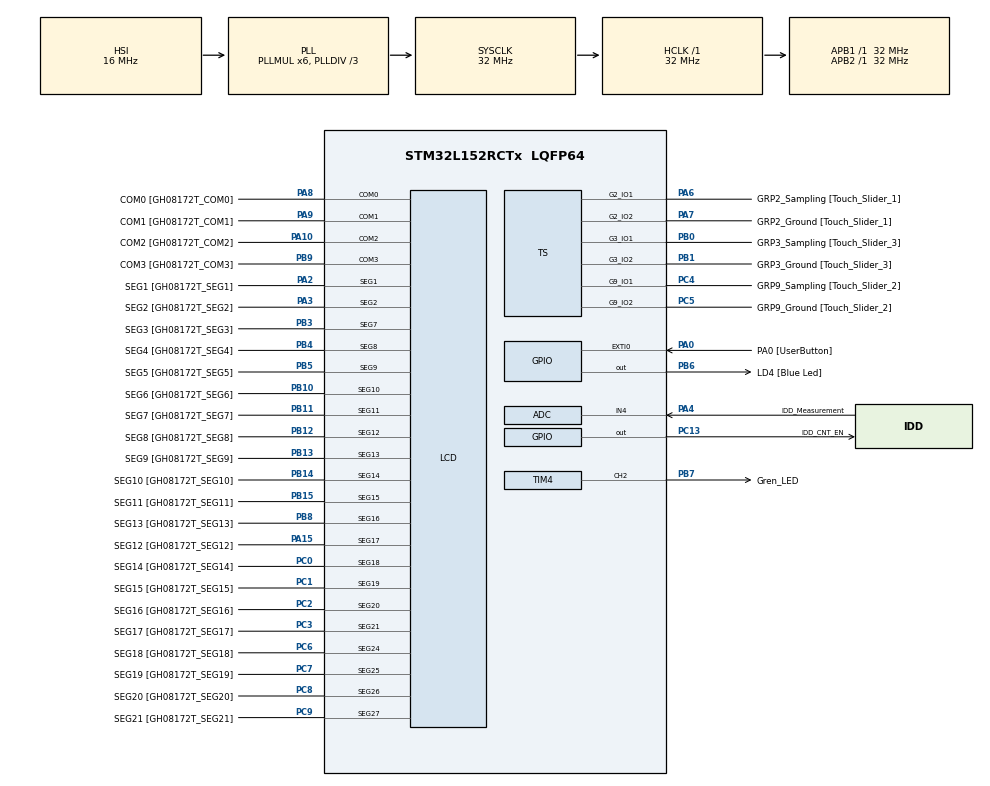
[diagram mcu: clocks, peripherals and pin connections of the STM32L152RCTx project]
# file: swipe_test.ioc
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ADC.Channel=ADC_CHANNEL_4
ADC.Channel-0\#ChannelRegularConversion=ADC_CHANNEL_4
ADC.Channel-IN4=ADC_CHANNEL_4
ADC.ExternalTrigConv=ADC_EXTERNALTRIGCONV_T2_CC3
ADC.ExternalTrigConv-0\#ChannelRegularConversion=ADC_SOFTWARE_START
ADC.ExternalTrigConvEdge=ADC_EXTERNALTRIGCONVEDGE_RISING
ADC.Rank-0\#ChannelRegularConversion=1
ADC.SamplingTime-0\#ChannelRegularConversion=ADC_SAMPLETIME_4CYCLES
LCD.Bias=LCD_BIAS_1_3
Mcu.Family=STM32L1
Mcu.Name=STM32L152RCTx
Mcu.Package=LQFP64
NVIC.EXTI0_IRQn=true\:0\:0\:false\:false\:true\:true\:true
NVIC.PriorityGroup=NVIC_PRIORITYGROUP_0
PA0-WKUP1.GPIO_Label=PA0 [UserButton]
PA0-WKUP1.Signal=GPXTI0
PA1.GPIO_Label=SEG0 [GH08172T_SEG0]
PA1.GPIO_Mode=GPIO_MODE_AF_PP
PA1.GPIO_PuPd=GPIO_NOPULL
PA1.GPIO_Speed=GPIO_SPEED_FREQ_LOW
PA1.Signal=LCD_SEG0
PA10.GPIO_Label=COM2 [GH08172T_COM2]
PA10.GPIO_Mode=GPIO_MODE_AF_PP
PA10.GPIO_PuPd=GPIO_NOPULL
PA10.GPIO_Speed=GPIO_SPEED_FREQ_LOW
PA10.Mode=1/4 Duty Cycle
PA10.Signal=LCD_COM2
PA13.GPIO_Label=SWDIO
PA13.Mode=Serial_Wire
PA13.Signal=SYS_JTMS-SWDIO
PA14.GPIO_Label=SWCLK
PA14.Mode=Serial_Wire
PA14.Signal=SYS_JTCK-SWCLK
PA15.GPIO_Label=SEG12 [GH08172T_SEG12]
PA15.GPIO_Mode=GPIO_MODE_AF_PP
PA15.GPIO_PuPd=GPIO_NOPULL
PA15.GPIO_Speed=GPIO_SPEED_FREQ_LOW
PA15.Mode=SEG17
PA15.Signal=LCD_SEG17
PA2.GPIO_Label=SEG1 [GH08172T_SEG1]
PA2.GPIO_Mode=GPIO_MODE_AF_PP
PA2.GPIO_PuPd=GPIO_NOPULL
PA2.GPIO_Speed=GPIO_SPEED_FREQ_LOW
PA2.Mode=SEG1
PA2.Signal=LCD_SEG1
PA3.GPIO_Label=SEG2 [GH08172T_SEG2]
PA3.GPIO_Mode=GPIO_MODE_AF_PP
PA3.GPIO_PuPd=GPIO_NOPULL
PA3.GPIO_Speed=GPIO_SPEED_FREQ_LOW
PA3.Mode=SEG2
PA3.Signal=LCD_SEG2
PA4.GPIO_Label=IDD_Measurement
PA4.GPIO_Mode=GPIO_MODE_ANALOG
PA4.GPIO_PuPd=GPIO_NOPULL
PA4.Mode=IN4
PA4.Signal=ADC_IN4
PA6.GPIO_Label=GRP2_Sampling [Touch_Slider_1]
PA6.Mode=G2_IO1-Sampling
PA6.Signal=TS_G2_IO1
PA7.GPIO_Label=GRP2_Ground [Touch_Slider_1]
PA7.Mode=G2_IO2-Channel
PA7.Signal=TS_G2_IO2
PA8.GPIO_Label=COM0 [GH08172T_COM0]
PA8.GPIO_Mode=GPIO_MODE_AF_PP
PA8.GPIO_PuPd=GPIO_NOPULL
PA8.GPIO_Speed=GPIO_SPEED_FREQ_LOW
PA8.Mode=1/4 Duty Cycle
PA8.Signal=LCD_COM0
PA9.GPIO_Label=COM1 [GH08172T_COM1]
PA9.GPIO_Mode=GPIO_MODE_AF_PP
PA9.GPIO_PuPd=GPIO_NOPULL
PA9.GPIO_Speed=GPIO_SPEED_FREQ_LOW
PA9.Mode=1/4 Duty Cycle
PA9.Signal=LCD_COM1
PB0.GPIO_Label=GRP3_Sampling [Touch_Slider_3]
PB0.Mode=G3_IO1-Sampling
PB0.Signal=TS_G3_IO1
PB1.GPIO_Label=GRP3_Ground [Touch_Slider_3]
PB1.Mode=G3_IO2-Channel
PB1.Signal=TS_G3_IO2
PB10.GPIO_Label=SEG6 [GH08172T_SEG6]
PB10.GPIO_Mode=GPIO_MODE_AF_PP
PB10.GPIO_PuPd=GPIO_NOPULL
PB10.GPIO_Speed=GPIO_SPEED_FREQ_LOW
PB10.Mode=SEG10
PB10.Signal=LCD_SEG10
PB11.GPIO_Label=SEG7 [GH08172T_SEG7]
PB11.GPIO_Mode=GPIO_MODE_AF_PP
PB11.GPIO_PuPd=GPIO_NOPULL
PB11.GPIO_Speed=GPIO_SPEED_FREQ_LOW
PB11.Mode=SEG11
PB11.Signal=LCD_SEG11
PB12.GPIO_Label=SEG8 [GH08172T_SEG8]
PB12.GPIO_Mode=GPIO_MODE_AF_PP
PB12.GPIO_PuPd=GPIO_NOPULL
PB12.GPIO_Speed=GPIO_SPEED_FREQ_LOW
PB12.Mode=SEG12
PB12.Signal=LCD_SEG12
PB13.GPIO_Label=SEG9 [GH08172T_SEG9]
PB13.GPIO_Mode=GPIO_MODE_AF_PP
PB13.GPIO_PuPd=GPIO_NOPULL
PB13.GPIO_Speed=GPIO_SPEED_FREQ_LOW
PB13.Mode=SEG13
PB13.Signal=LCD_SEG13
PB14.GPIO_Label=SEG10 [GH08172T_SEG10]
PB14.GPIO_Mode=GPIO_MODE_AF_PP
PB14.GPIO_PuPd=GPIO_NOPULL
PB14.GPIO_Speed=GPIO_SPEED_FREQ_LOW
PB14.Mode=SEG14
PB14.Signal=LCD_SEG14
PB15.GPIO_Label=SEG11 [GH08172T_SEG11]
PB15.GPIO_Mode=GPIO_MODE_AF_PP
PB15.GPIO_PuPd=GPIO_NOPULL
PB15.GPIO_Speed=GPIO_SPEED_FREQ_LOW
PB15.Mode=SEG15
PB15.Signal=LCD_SEG15
PB3.GPIO_Label=SEG3 [GH08172T_SEG3]
PB3.GPIO_Mode=GPIO_MODE_AF_PP
PB3.GPIO_PuPd=GPIO_NOPULL
PB3.GPIO_Speed=GPIO_SPEED_FREQ_LOW
PB3.Mode=SEG7
PB3.Signal=LCD_SEG7
PB4.GPIO_Label=SEG4 [GH08172T_SEG4]
PB4.GPIO_Mode=GPIO_MODE_AF_PP
PB4.GPIO_PuPd=GPIO_NOPULL
PB4.GPIO_Speed=GPIO_SPEED_FREQ_LOW
PB4.Mode=SEG8
PB4.Signal=LCD_SEG8
PB5.GPIO_Label=SEG5 [GH08172T_SEG5]
PB5.GPIO_Mode=GPIO_MODE_AF_PP
PB5.GPIO_PuPd=GPIO_NOPULL
PB5.GPIO_Speed=GPIO_SPEED_FREQ_LOW
PB5.Mode=SEG9
PB5.Signal=LCD_SEG9
PB6.GPIO_Label=LD4 [Blue Led]
PB6.GPIO_ModeDefaultOutputPP=GPIO_MODE_OUTPUT_PP
PB6.GPIO_PuPd=GPIO_NOPULL
PB6.GPIO_Speed=GPIO_SPEED_FREQ_LOW
PB6.Signal=GPIO_Output
PB7.GPIO_Label=Gren_LED
PB7.GPIO_Speed=GPIO_SPEED_FREQ_MEDIUM
PB7.Signal=S_TIM4_CH2
PB8.GPIO_Label=SEG13 [GH08172T_SEG13]
PB8.GPIO_Mode=GPIO_MODE_AF_PP
PB8.GPIO_PuPd=GPIO_NOPULL
PB8.GPIO_Speed=GPIO_SPEED_FREQ_LOW
PB8.Mode=SEG16
PB8.Signal=LCD_SEG16
PB9.GPIO_Label=COM3 [GH08172T_COM3]
PB9.GPIO_Mode=GPIO_MODE_AF_PP
PB9.GPIO_PuPd=GPIO_NOPULL
PB9.GPIO_Speed=GPIO_SPEED_FREQ_LOW
PB9.Mode=1/4 Duty Cycle
PB9.Signal=LCD_COM3
PC0.GPIO_Label=SEG14 [GH08172T_SEG14]
PC0.GPIO_Mode=GPIO_MODE_AF_PP
PC0.GPIO_PuPd=GPIO_NOPULL
PC0.GPIO_Speed=GPIO_SPEED_FREQ_LOW
PC0.Mode=SEG18
PC0.Signal=LCD_SEG18
PC1.GPIO_Label=SEG15 [GH08172T_SEG15]
PC1.GPIO_Mode=GPIO_MODE_AF_PP
PC1.GPIO_PuPd=GPIO_NOPULL
PC1.GPIO_Speed=GPIO_SPEED_FREQ_LOW
PC1.Mode=SEG19
PC1.Signal=LCD_SEG19
PC10.GPIO_Label=SEG22 [GH08172T_SEG22]
PC10.GPIO_Mode=GPIO_MODE_AF_PP
PC10.GPIO_PuPd=GPIO_NOPULL
PC10.GPIO_Speed=GPIO_SPEED_FREQ_LOW
PC10.Signal=LCD_SEG28
PC11.GPIO_Label=SEG23 [GH08172T_SEG23]
PC11.GPIO_Mode=GPIO_MODE_AF_PP
PC11.GPIO_PuPd=GPIO_NOPULL
PC11.GPIO_Speed=GPIO_SPEED_FREQ_LOW
PC11.Signal=LCD_SEG29
PC13-WKUP2.GPIO_Label=IDD_CNT_EN
PC13-WKUP2.Signal=GPIO_Output
PC14-OSC32_IN.GPIO_Label=PC14-OSC32_IN
PC14-OSC32_IN.Signal=RCC_OSC32_IN
PC15-OSC32_OUT.GPIO_Label=PC15-OSC32_OUT
PC15-OSC32_OUT.Signal=RCC_OSC32_OUT
PC2.GPIO_Label=SEG16 [GH08172T_SEG16]
PC2.GPIO_Mode=GPIO_MODE_AF_PP
PC2.GPIO_PuPd=GPIO_NOPULL
PC2.GPIO_Speed=GPIO_SPEED_FREQ_LOW
PC2.Mode=SEG20
PC2.Signal=LCD_SEG20
PC3.GPIO_Label=SEG17 [GH08172T_SEG17]
PC3.GPIO_Mode=GPIO_MODE_AF_PP
PC3.GPIO_PuPd=GPIO_NOPULL
PC3.GPIO_Speed=GPIO_SPEED_FREQ_LOW
PC3.Mode=SEG21
PC3.Signal=LCD_SEG21
PC4.GPIO_Label=GRP9_Sampling [Touch_Slider_2]
PC4.Mode=G9_IO1-Sampling
PC4.Signal=TS_G9_IO1
PC5.GPIO_Label=GRP9_Ground [Touch_Slider_2]
PC5.Mode=G9_IO2-Channel
PC5.Signal=TS_G9_IO2
PC6.GPIO_Label=SEG18 [GH08172T_SEG18]
PC6.GPIO_Mode=GPIO_MODE_AF_PP
PC6.GPIO_PuPd=GPIO_NOPULL
PC6.GPIO_Speed=GPIO_SPEED_FREQ_LOW
PC6.Mode=SEG24
PC6.Signal=LCD_SEG24
PC7.GPIO_Label=SEG19 [GH08172T_SEG19]
PC7.GPIO_Mode=GPIO_MODE_AF_PP
PC7.GPIO_PuPd=GPIO_NOPULL
PC7.GPIO_Speed=GPIO_SPEED_FREQ_LOW
PC7.Mode=SEG25
PC7.Signal=LCD_SEG25
PC8.GPIO_Label=SEG20 [GH08172T_SEG20]
PC8.GPIO_Mode=GPIO_MODE_AF_PP
PC8.GPIO_PuPd=GPIO_NOPULL
PC8.GPIO_Speed=GPIO_SPEED_FREQ_LOW
PC8.Mode=SEG26
PC8.Signal=LCD_SEG26
PC9.GPIO_Label=SEG21 [GH08172T_SEG21]
PC9.GPIO_Mode=GPIO_MODE_AF_PP
PC9.GPIO_PuPd=GPIO_NOPULL
PC9.GPIO_Speed=GPIO_SPEED_FREQ_LOW
PC9.Mode=SEG27
PC9.Signal=LCD_SEG27
PH0-OSC_IN.Mode=HSE-External-Oscillator
PH0-OSC_IN.Signal=RCC_OSC_IN
PH1-OSC_OUT.Mode=HSE-External-Oscillator
PH1-OSC_OUT.Signal=RCC_OSC_OUT
ProjectManager.HeapSize=0x200
ProjectManager.StackSize=0x400
ProjectManager.TargetToolchain=TrueSTUDIO
RCC.48MHZClocksFreq_Value=48000000
RCC.AHBFreq_Value=32000000
RCC.APB1Freq_Value=32000000
RCC.APB1TimFreq_Value=32000000
RCC.APB2Freq_Value=32000000
RCC.APB2TimFreq_Value=32000000
RCC.HCLKFreq_Value=32000000
RCC.HSE_VALUE=8000000
RCC.HSI_VALUE=16000000
RCC.LSE_VALUE=32768
RCC.MSI_VALUE=2097000
RCC.PLLDIV=RCC_PLL_DIV3
RCC.PLLMUL=RCC_PLL_MUL6
RCC.RCC_RTC_Clock_Source_FROM_HSE=RCC_RTCCLKSOURCE_HSE_DIV8
RCC.RTCClockSelection=RCC_RTCCLKSOURCE_HSE_DIV8
RCC.RTCClockSelectionVirtual=RCC_RTCCLKSOURCE_LSE
RCC.SYSCLKFreq_VALUE=32000000
RCC.SYSCLKSource=RCC_SYSCLKSOURCE_PLLCLK
RCC.USBOutput=48000000
RCC.VCOOutputFreq_Value=96000000
SH.S_TIM4_CH2.0=TIM4_CH2,PWM Generation2 CH2
TIM4.AutoReloadPreload=TIM_AUTORELOAD_PRELOAD_ENABLE
TIM4.Channel-PWM\ Generation2\ CH2=TIM_CHANNEL_2
TIM4.OCFastMode_PWM-PWM\ Generation2\ CH2=TIM_OCFAST_ENABLE
TIM4.Period=500
TIM4.Prescaler=32
TIM4.Pulse-PWM\ Generation2\ CH2=350
TS.SamplingIOs-G2_IO1=TSC_GROUP2_IO1
TS.SamplingIOs-G3_IO1=TSC_GROUP3_IO1
TS.SamplingIOs-G9_IO1=TSC_GROUP9_IO1
VP_LCD_LCD_mux.Mode=Multiplex
VP_TIM4_VS_ClockSourceINT.Mode=Internal
VP_TOUCHSENSING_VS_TOUCHSENSING.Mode=TouchSensing_Enabled
board=STM32L152C-DISCO

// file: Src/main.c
/* USER CODE BEGIN Header */
/**
  ******************************************************************************
  * @file           : main.c
  * @brief          : Main program body
  ******************************************************************************
  * @attention
  *
  * <h2><center>&copy; Copyright (c) 2019 STMicroelectronics.
  * All rights reserved.</center></h2>
  *
  * This software component is licensed by ST under BSD 3-Clause license,
  * the "License"; You may not use this file except in compliance with the
  * License. You may obtain a copy of the License at:
  *                        opensource.org/licenses/BSD-3-Clause
  *
  ******************************************************************************
  */
/* USER CODE END Header */

#include "main.h"
#include "STM32L152xC.h"

/* USER CODE BEGIN PTD */
#define bool _Bool
#define FALSE 0
#define TRUE !FALSE

#define Button_Delay  20
#define LedON_Delay  3000
/* USER CODE END PTD */

/* USER CODE BEGIN PD */
extern bool UserButton;               /* Set by interrupt handler to indicate that user button is pressed */
bool process_sensor = FALSE;
int BtDelay = Button_Delay;
int LedOnDelay = LedON_Delay;
uint8_t message[6] = "HELLO ";

/* USER CODE END PD */

ADC_HandleTypeDef hadc;

LCD_HandleTypeDef hlcd;

TIM_HandleTypeDef htim4;

void SystemClock_Config(void);
static void MX_GPIO_Init(void);
static void MX_ADC_Init(void);
static void MX_LCD_Init(void);
static void MX_TS_Init(void);
static void MX_TIM4_Init(void);
/* USER CODE BEGIN PFP */
static uint16_t LCD_Conv_Char_Seg  (uint8_t symbol, uint8_t point);
void LCD_GLASS_WriteChar(uint8_t ch, uint8_t point, uint8_t position);
void LCD_GLASS_WriteMessage(void);
/* USER CODE END PFP */

int main(void)
{

  /* MCU Configuration--------------------------------------------------------*/

  /* Reset of all peripherals, Initializes the Flash interface and the Systick. */
  HAL_Init();

  /* Configure the system clock */
  SystemClock_Config();

  /* USER CODE BEGIN SysInit */
  systickInit(1000);   			// systick frequency 1kHz
  /* USER CODE END SysInit */

  /* Initialize all configured peripherals */
  MX_GPIO_Init();
  MX_ADC_Init();
  MX_LCD_Init();
  MX_TS_Init();
  MX_TIM4_Init();
  /* USER CODE BEGIN 2 */

/*  LCD_GLASS_WriteChar(uint8_t ch, uint8_t point, uint8_t position)*/
/*  LCD_GLASS_WriteChar('H', 0, 1);
  LCD_GLASS_WriteChar('E', 0, 2);
  LCD_GLASS_WriteChar('L', 0, 3);
  LCD_GLASS_WriteChar('L', 0, 4);
  LCD_GLASS_WriteChar('O', 0, 5);
  LCD_GLASS_WriteChar(' ', 1, 6);
  */
  LCD_GLASS_WriteMessage();
  HAL_Delay(500);
 /* USER CODE END 2 */
  state_machine= STATE_1;
  /* Infinite loop */
  /* USER CODE BEGIN WHILE */
  HAL_TIM_Base_Start(&htim4);				//PWM generator start
//  HAL_TIM_PWM_Start(&htim4, TIM_CHANNEL_2);
  message[0] = ' ';
  message[1] = '2';
  message[2] = '0';
  message[3] = '0';
  message[4] = 'M';
  message[5] = 'S';
  while (1)
  {
    /* USER CODE END WHILE */

    /* USER CODE BEGIN 3 */

	switch (state_machine)
	{

	   case STATE_1:
	     swipe_delay_value=200;
	     if (process_sensor==0)
	     {
	    	  message[0] = ' ';
	    	  message[1] = '2';
	    	 LCD_GLASS_WriteMessage();
	     }
	   break;

	   case STATE_2:
	     swipe_delay_value=500;
	     if (process_sensor==0)
	     {
	    	 message[0] = ' ';
	    	 message[1] = '5';
   	    	 LCD_GLASS_WriteMessage();
	     }
	   break;

	   case STATE_3:
	     swipe_delay_value=1000;
	     if (process_sensor==0)
		 {
	    	  message[0] = '1';
	    	  message[1] = '0';
	    	 LCD_GLASS_WriteMessage();
	     }
	   break;

	   /* for safe: normaly never reaches*/
	   default:
		 message[0] = 'E';
		 message[1] = 'R';
		 message[2] = 'R';
		 message[3] = 'O';
		 message[4] = 'R';
		 message[5] = ' ';
		 LCD_GLASS_WriteMessage();
	   break;
	}

	if(UserButton)
	{
	   HAL_TIM_PWM_Start(&htim4, TIM_CHANNEL_2);
	   LedOnDelay = swipe_delay_value;

	   state_machine++;
	   if (state_machine==MAX_STATE)
	   {
		   state_machine=STATE_1;
	   }

	   UserButton = FALSE;
	}
	else HAL_Delay(500);
	if(LedOnDelay == 0)
	{

	  HAL_TIM_PWM_Stop(&htim4, TIM_CHANNEL_2);
	}

  }
  /* USER CODE END 3 */
}

void SystemClock_Config(void)
{
  RCC_OscInitTypeDef RCC_OscInitStruct = {0};
  RCC_ClkInitTypeDef RCC_ClkInitStruct = {0};
  RCC_PeriphCLKInitTypeDef PeriphClkInit = {0};

  /** Configure the main internal regulator output voltage
  */
  __HAL_PWR_VOLTAGESCALING_CONFIG(PWR_REGULATOR_VOLTAGE_SCALE1);
  /** Initializes the CPU, AHB and APB busses clocks
  */
  RCC_OscInitStruct.OscillatorType = RCC_OSCILLATORTYPE_HSI|RCC_OSCILLATORTYPE_HSE;
  RCC_OscInitStruct.HSEState = RCC_HSE_ON;
  RCC_OscInitStruct.HSIState = RCC_HSI_ON;
  RCC_OscInitStruct.HSICalibrationValue = RCC_HSICALIBRATION_DEFAULT;
  RCC_OscInitStruct.PLL.PLLState = RCC_PLL_ON;
  RCC_OscInitStruct.PLL.PLLSource = RCC_PLLSOURCE_HSI;
  RCC_OscInitStruct.PLL.PLLMUL = RCC_PLL_MUL6;
  RCC_OscInitStruct.PLL.PLLDIV = RCC_PLL_DIV3;
  if (HAL_RCC_OscConfig(&RCC_OscInitStruct) != HAL_OK)
  {
    Error_Handler();
  }
  /** Initializes the CPU, AHB and APB busses clocks
  */
  RCC_ClkInitStruct.ClockType = RCC_CLOCKTYPE_HCLK|RCC_CLOCKTYPE_SYSCLK
                              |RCC_CLOCKTYPE_PCLK1|RCC_CLOCKTYPE_PCLK2;
  RCC_ClkInitStruct.SYSCLKSource = RCC_SYSCLKSOURCE_PLLCLK;
  RCC_ClkInitStruct.AHBCLKDivider = RCC_SYSCLK_DIV1;
  RCC_ClkInitStruct.APB1CLKDivider = RCC_HCLK_DIV1;
  RCC_ClkInitStruct.APB2CLKDivider = RCC_HCLK_DIV1;

  if (HAL_RCC_ClockConfig(&RCC_ClkInitStruct, FLASH_LATENCY_1) != HAL_OK)
  {
    Error_Handler();
  }
  PeriphClkInit.PeriphClockSelection = RCC_PERIPHCLK_LCD;
  PeriphClkInit.LCDClockSelection = RCC_RTCCLKSOURCE_HSE_DIV8;

  if (HAL_RCCEx_PeriphCLKConfig(&PeriphClkInit) != HAL_OK)
  {
    Error_Handler();
  }
}

static void MX_ADC_Init(void)
{

  ADC_ChannelConfTypeDef sConfig = {0};

  /** Configure the global features of the ADC (Clock, Resolution, Data Alignment and number of conversion)
  */
  hadc.Instance = ADC1;
  hadc.Init.ClockPrescaler = ADC_CLOCK_ASYNC_DIV1;
  hadc.Init.Resolution = ADC_RESOLUTION_12B;
  hadc.Init.DataAlign = ADC_DATAALIGN_RIGHT;
  hadc.Init.ScanConvMode = ADC_SCAN_DISABLE;
  hadc.Init.EOCSelection = ADC_EOC_SEQ_CONV;
  hadc.Init.LowPowerAutoWait = ADC_AUTOWAIT_DISABLE;
  hadc.Init.LowPowerAutoPowerOff = ADC_AUTOPOWEROFF_DISABLE;
  hadc.Init.ChannelsBank = ADC_CHANNELS_BANK_A;
  hadc.Init.ContinuousConvMode = DISABLE;
  hadc.Init.NbrOfConversion = 1;
  hadc.Init.DiscontinuousConvMode = DISABLE;
  hadc.Init.ExternalTrigConv = ADC_EXTERNALTRIGCONV_T2_CC3;
  hadc.Init.ExternalTrigConvEdge = ADC_EXTERNALTRIGCONVEDGE_RISING;
  hadc.Init.DMAContinuousRequests = DISABLE;
  if (HAL_ADC_Init(&hadc) != HAL_OK)
  {
    Error_Handler();
  }
  /** Configure for the selected ADC regular channel its corresponding rank in the sequencer and its sample time.
  */
  sConfig.Channel = ADC_CHANNEL_4;
  sConfig.Rank = ADC_REGULAR_RANK_1;
  sConfig.SamplingTime = ADC_SAMPLETIME_4CYCLES;
  if (HAL_ADC_ConfigChannel(&hadc, &sConfig) != HAL_OK)
  {
    Error_Handler();
  }

}

static void MX_LCD_Init(void)
{

  /* USER CODE BEGIN LCD_Init 0 */

  RCC->APB1ENR |= RCC_APB1ENR_PWREN|RCC_APB1ENR_LCDEN;
  RCC->CSR |= RCC_CSR_LSION;
  while (! (RCC->CSR & RCC_CSR_LSIRDY)) ;

  RCC->APB1ENR |= RCC_APB1ENR_PWREN;
  PWR->CR  |=  PWR_CR_DBP;       // disable backup write protection !!!

  RCC->CSR |=  RCC_CSR_RTCSEL_1; // LSI select
  RCC->CSR |=  RCC_CSR_RTCEN;    // RTC en   (LCD clocks from RTC mux)
  PWR->CR  &= ~PWR_CR_DBP;       // enable backup write protection

  /* USER CODE END LCD_Init 0 */

  /* USER CODE BEGIN LCD_Init 1 */
  LCD->CR &= ~0x60; 			// Clear CR
  /* USER CODE END LCD_Init 1 */
  hlcd.Instance = LCD;
  hlcd.Init.Prescaler = LCD_PRESCALER_1;
  hlcd.Init.Divider = LCD_DIVIDER_16;
  hlcd.Init.Duty = LCD_DUTY_1_4;
  hlcd.Init.Bias = LCD_BIAS_1_3;
  hlcd.Init.VoltageSource = LCD_VOLTAGESOURCE_INTERNAL;
  hlcd.Init.Contrast = LCD_CONTRASTLEVEL_3;
  hlcd.Init.DeadTime = LCD_DEADTIME_1;
  hlcd.Init.PulseOnDuration = LCD_PULSEONDURATION_0;
  hlcd.Init.MuxSegment = LCD_MUXSEGMENT_ENABLE;
  hlcd.Init.BlinkMode = LCD_BLINKMODE_OFF;
  hlcd.Init.BlinkFrequency = LCD_BLINKFREQUENCY_DIV8;
  if (HAL_LCD_Init(&hlcd) != HAL_OK)
  {
    Error_Handler();
  }
  /* USER CODE BEGIN LCD_Init 2 */
  LCD->CR |= 0x1;				// LCD ON

  while(!(LCD->SR&LCD_SR_RDY));

  while(!(LCD->SR&LCD_SR_ENS));
  /* USER CODE END LCD_Init 2 */

}

static void MX_TIM4_Init(void)
{

  TIM_ClockConfigTypeDef sClockSourceConfig = {0};
  TIM_MasterConfigTypeDef sMasterConfig = {0};
  TIM_OC_InitTypeDef sConfigOC = {0};

  htim4.Instance = TIM4;
  htim4.Init.Prescaler = 32;
  htim4.Init.CounterMode = TIM_COUNTERMODE_UP;
  htim4.Init.Period = 500;
  htim4.Init.ClockDivision = TIM_CLOCKDIVISION_DIV1;
  htim4.Init.AutoReloadPreload = TIM_AUTORELOAD_PRELOAD_ENABLE;
  if (HAL_TIM_Base_Init(&htim4) != HAL_OK)
  {
    Error_Handler();
  }
  sClockSourceConfig.ClockSource = TIM_CLOCKSOURCE_INTERNAL;
  if (HAL_TIM_ConfigClockSource(&htim4, &sClockSourceConfig) != HAL_OK)
  {
    Error_Handler();
  }
  if (HAL_TIM_PWM_Init(&htim4) != HAL_OK)
  {
    Error_Handler();
  }
  sMasterConfig.MasterOutputTrigger = TIM_TRGO_RESET;
  sMasterConfig.MasterSlaveMode = TIM_MASTERSLAVEMODE_DISABLE;
  if (HAL_TIMEx_MasterConfigSynchronization(&htim4, &sMasterConfig) != HAL_OK)
  {
    Error_Handler();
  }
  sConfigOC.OCMode = TIM_OCMODE_PWM1;
  sConfigOC.Pulse = 350;
  sConfigOC.OCPolarity = TIM_OCPOLARITY_HIGH;
  sConfigOC.OCFastMode = TIM_OCFAST_ENABLE;
  if (HAL_TIM_PWM_ConfigChannel(&htim4, &sConfigOC, TIM_CHANNEL_2) != HAL_OK)
  {
    Error_Handler();
  }
  HAL_TIM_MspPostInit(&htim4);

}

static void MX_TS_Init(void)
{

  /* USER CODE BEGIN TS_Init 0 */
  /* Init Touch Sensing configuration */
  /* USER CODE END TS_Init 0 */

}

static void MX_GPIO_Init(void)
{
  GPIO_InitTypeDef GPIO_InitStruct = {0};

  /* GPIO Ports Clock Enable */
  __HAL_RCC_GPIOC_CLK_ENABLE();
  __HAL_RCC_GPIOH_CLK_ENABLE();
  __HAL_RCC_GPIOA_CLK_ENABLE();
  __HAL_RCC_GPIOB_CLK_ENABLE();

  /* Configure Ports LCD Output*/

    RCC->AHBENR |=(RCC_AHBENR_GPIOAEN|RCC_AHBENR_GPIOBEN|RCC_AHBENR_GPIOCEN);

   /*  Configure Port B LCD Output pins as alternate function */
    GPIO_InitStruct.Pin = ( GPIO_PIN_3 | GPIO_PIN_4 | GPIO_PIN_5 | GPIO_PIN_8 | GPIO_PIN_9 | GPIO_PIN_10 | GPIO_PIN_11 | GPIO_PIN_12 | GPIO_PIN_13 | GPIO_PIN_14 | GPIO_PIN_15);
    GPIO_InitStruct.Mode = GPIO_MODE_AF_PP;
    GPIO_InitStruct.Pull = GPIO_NOPULL;
    GPIO_InitStruct.Speed = GPIO_SPEED_FREQ_LOW;
    HAL_GPIO_Init(PB0_GPIO_Port, &GPIO_InitStruct);//GPIO_Pin_3 | GPIO_Pin_4 | GPIO_Pin_5 | GPIO_Pin_8 | GPIO_Pin_9 | GPIO_Pin_10 | GPIO_Pin_11 | GPIO_Pin_12 | GPIO_Pin_13 | GPIO_Pin_14 | GPIO_Pin_15;
    GPIOB->AFR[0] = 0x00BBB000;		/* 0xBBB00000 = 0000 0000 1011 1011 1011 0000 0000 0000*/
    GPIOB->AFR[1] = 0xBBBBBBBB; 	/* 0xB0000BBB = 1011 1011 1011 1011 1011 1011 1011 1011*/

    /* Configure Port A LCD Output pins as alternate function */
    GPIO_InitStruct.Pin = GPIO_PIN_1 | GPIO_PIN_2 | GPIO_PIN_3 | GPIO_PIN_8 | GPIO_PIN_9 | GPIO_PIN_10 | GPIO_PIN_15;
    GPIO_InitStruct.Mode = GPIO_MODE_AF_PP;
    GPIO_InitStruct.Pull = GPIO_NOPULL;
    GPIO_InitStruct.Speed = GPIO_SPEED_FREQ_LOW;
    HAL_GPIO_Init(PA0_GPIO_Port, &GPIO_InitStruct);
    GPIOA->AFR[0] = 0xBBB0;				/* 0xBBB0 = 1011 1011 1011 0000*/
    GPIOA->AFR[1] = 0xB0000BBB; 	/* 0xB0000BBB = 1011 0000 0000 0000 0000 1011 1011 1011*/

    /* Configure Port C LCD Output pins as alternate function */
    GPIO_InitStruct.Pin = GPIO_PIN_0 | GPIO_PIN_1 | GPIO_PIN_2 | GPIO_PIN_3 | GPIO_PIN_6 | GPIO_PIN_7 | GPIO_PIN_8 | GPIO_PIN_9 | GPIO_PIN_10 | GPIO_PIN_11;
    GPIO_InitStruct.Mode = GPIO_MODE_AF_PP;
    GPIO_InitStruct.Pull = GPIO_NOPULL;
    GPIO_InitStruct.Speed = GPIO_SPEED_FREQ_LOW;
    HAL_GPIO_Init(PA0_GPIO_Port, &GPIO_InitStruct);
    GPIOC->AFR[0] = 0xBB00BBBB;		/* 0xBBB00000 = 1011 1011 0000 0000 1011 1011 1011 1011*/
    GPIOC->AFR[1] = 0x0000BBBB; 	/* 0xB0000BBB = 0000 0000 0000 0000 1011 1011 1011 1011*/

  /*Configure GPIO pin Output Level */
  HAL_GPIO_WritePin(IDD_CNT_EN_GPIO_Port, IDD_CNT_EN_Pin, GPIO_PIN_RESET);

  /*Configure GPIO pin Output Level */
  HAL_GPIO_WritePin(LD4_GPIO_Port, LD4_Pin, GPIO_PIN_RESET);

  /*Configure GPIO pin : IDD_CNT_EN_Pin */
/*
  GPIO_InitStruct.Pin = IDD_CNT_EN_Pin;
  GPIO_InitStruct.Mode = GPIO_MODE_OUTPUT_PP;
  GPIO_InitStruct.Pull = GPIO_NOPULL;
  GPIO_InitStruct.Speed = GPIO_SPEED_FREQ_LOW;
  HAL_GPIO_Init(IDD_CNT_EN_GPIO_Port, &GPIO_InitStruct);
 */

  /*Configure GPIO pin : PA0_Pin */
  GPIO_InitStruct.Pin = PA0_Pin;
  GPIO_InitStruct.Mode = GPIO_MODE_IT_RISING;
  GPIO_InitStruct.Pull = GPIO_NOPULL;
  HAL_GPIO_Init(PA0_GPIO_Port, &GPIO_InitStruct);

  /*Configure GPIO pin : LD4_Pin */
  GPIO_InitStruct.Pin = LD4_Pin;
  GPIO_InitStruct.Mode = GPIO_MODE_OUTPUT_PP;
  GPIO_InitStruct.Pull = GPIO_NOPULL;
  GPIO_InitStruct.Speed = GPIO_SPEED_FREQ_LOW;
  HAL_GPIO_Init(LD4_GPIO_Port, &GPIO_InitStruct);

  /* EXTI interrupt init*/
  HAL_NVIC_SetPriority(EXTI0_IRQn, 0, 0);
  HAL_NVIC_EnableIRQ(EXTI0_IRQn);

}

/* USER CODE BEGIN 4 */

static uint16_t LCD_Conv_Char_Seg  (uint8_t symbol, uint8_t point)
{
	uint16_t from_ascii[0x60] = {
	  0x0000, 0x0000, 0x0000, 0x0000, 0x0000, 0x0000, 0x0000, 0x0000,
	  /*															*/
	  0x0000, 0x0000, 0x0000, 0x0000, 0x0000, 0x0000, 0x0000, 0x0000,
	  /*															*/
	  0x0000, 0x0000, 0x0000, 0x0000, 0x0000, 0x0000, 0x0000, 0x0000,
	  /*															*/
	  0x0000, 0x0000, 0x0000, 0x0000, 0x0000, 0x0000, 0x0000, 0x0000,
	  /*         !       "       #       $      %        &       ' 	*/
	  0x0000, 0x0000, 0x0000, 0x0000, 0x0000, 0x0000, 0x0000, 0x0000,
	  /* (       )       *       +       ,       -       .       / 	*/
	  0x0000, 0x0000, 0xA0DD, 0x0000, 0x0000, 0xA000, 0x0000, 0x00C0,
	  /* 0       1       2       3       4       5       6       7 	*/
	  0x5F00, 0x4200, 0xF500, 0x6700, 0xEA00, 0xAF00, 0xBF00, 0x4600,
	  /* 8       9       :       ;       <       =       >       ? 	*/
	  0xFF00, 0xEF00, 0x0000, 0x0000, 0x0000, 0x0000, 0x0000, 0x0000,
	  /* @       A       B       C       D       E       F       G 	*/
	  0x0000, 0xFE00, 0x6714, 0x1D00, 0x4714, 0x9D00, 0x9C00, 0x3F00,
	  /* H       I       J       K       L       M       N       O 	*/
	  0xFA00, 0x0014, 0x5300, 0x9841, 0x1900, 0x5A48, 0x5A09, 0x5F00,
	  /* P       Q       R       S       T       U       V       W 	*/
	  0xFC00, 0x5F01, 0xFC01, 0xAF00, 0x0414, 0x5B00, 0x18C0, 0x5A81,
	  /* X       Y       Z       [       \       ]       ^       _ 	*/
	  0x00C9, 0x0058, 0x05C0, 0x1D00, 0x0000, 0x4700, 0x0000, 0x0000
	};

	if (symbol > 0x60) return 0x0000; // masks not defined. Nothing to display

    /* Set the digital point can be displayed if the point is on */
    if(point != 0)
    {
    	return from_ascii[symbol] | 0x0002;
    }
	return from_ascii[symbol];
}

void LCD_GLASS_WriteChar(uint8_t ch, uint8_t point, uint8_t position)
{
	uint16_t digit[0x04];     /* Digit frame buffer */
    uint32_t char_mask;
    uint16_t LCD_char;
    uint8_t i,j;
    /* To convert displayed character in segment in array digit */
    LCD_char = LCD_Conv_Char_Seg(ch, point);
    for(i = 0x0C, j = 0x00 ; j < 0x04; i -= 0x04, j++)
    {
        digit[j] = ((LCD_char >> i) & 0x0F); //To isolate the less signifiant bit
    }

    /* TO wait LCD Ready */
 /*   while(LCD_SRbits.UDR == true);*/
    while(!(LCD->SR&LCD_SR_RDY));

    switch (position)
    {
        /* Position 1 on LCD (Digit1)*/
        case 1:
        {
        	char_mask = 0xCFFFFFFC;

        	HAL_LCD_Write(&hlcd, 0, char_mask, ((((unsigned long)digit[0x00]) & 0x0C) << 0x1A) | (((unsigned long)digit[0x00]) & 0x03)); // 1G 1B 1M 1E
        	HAL_LCD_Write(&hlcd, 2, char_mask, ((((unsigned long)digit[0x01]) & 0x0C) << 0x1A) | (((unsigned long)digit[0x01]) & 0x03)); // 1F 1A 1C 1D
        	HAL_LCD_Write(&hlcd, 4, char_mask, ((((unsigned long)digit[0x02]) & 0x0C) << 0x1A) | (((unsigned long)digit[0x02]) & 0x03)); // 1Q 1K 1Col 1P
        	HAL_LCD_Write(&hlcd, 6, char_mask, ((((unsigned long)digit[0x03]) & 0x0C) << 0x1A) | (((unsigned long)digit[0x03]) & 0x03)); // 1H 1J 1DP 1N

            break;
         }

        /* Position 2 on LCD (Digit2)*/
        case 2:
        {
        	char_mask = 0xF3FFFF03;

        	HAL_LCD_Write(&hlcd, 0, char_mask, ((((unsigned long)digit[0x00]) & 0x0C) << 0x18) | ((((unsigned long)digit[0x00]) & 0x02) << 0x06) | ((((unsigned long)digit[0x00]) & 0x01) << 0x02)); // 2G 2B 2M 2E
        	HAL_LCD_Write(&hlcd, 2, char_mask, ((((unsigned long)digit[0x01]) & 0x0C) << 0x18) | ((((unsigned long)digit[0x01]) & 0x02) << 0x06) | ((((unsigned long)digit[0x01]) & 0x01) << 0x02)); // 2F 2A 2C 2D
        	HAL_LCD_Write(&hlcd, 4, char_mask, ((((unsigned long)digit[0x02]) & 0x0C) << 0x18) | ((((unsigned long)digit[0x02]) & 0x02) << 0x06) | ((((unsigned long)digit[0x02]) & 0x01) << 0x02)); // 2Q 2K 2Col 2P
        	HAL_LCD_Write(&hlcd, 6, char_mask, ((((unsigned long)digit[0x03]) & 0x0C) << 0x18) | ((((unsigned long)digit[0x03]) & 0x02) << 0x06) | ((((unsigned long)digit[0x03]) & 0x01) << 0x02)); // 2H 2J 2DP 2N

            break;
         }

        /* Position 3 on LCD (Digit3)*/
        case 3:
        {
        	char_mask = 0xFCFFFCFF;

        	HAL_LCD_Write(&hlcd, 0, char_mask, ((((unsigned long)digit[0x00]) & 0x0C) << 0x16) | ((((unsigned long)digit[0x00]) & 0x03) << 0x08)); // 3G 3B 3M 3E
        	HAL_LCD_Write(&hlcd, 2, char_mask, ((((unsigned long)digit[0x01]) & 0x0C) << 0x16) | ((((unsigned long)digit[0x01]) & 0x03) << 0x08)); // 3F 3A 3C 3D
        	HAL_LCD_Write(&hlcd, 4, char_mask, ((((unsigned long)digit[0x02]) & 0x0C) << 0x16) | ((((unsigned long)digit[0x02]) & 0x03) << 0x08)); // 3Q 3K 3Col 3P
        	HAL_LCD_Write(&hlcd, 6, char_mask, ((((unsigned long)digit[0x03]) & 0x0C) << 0x16) | ((((unsigned long)digit[0x03]) & 0x03) << 0x08)); // 3H 3J 3DP 3N

            break;
         }

        /* Position 4 on LCD (Digit4)*/
        case 4:
        {
        	char_mask = 0xFFCFF3FF;

        	HAL_LCD_Write(&hlcd, 0, char_mask, ((((unsigned long)digit[0x00]) & 0x0C) << 0x12) | ((((unsigned long)digit[0x00]) & 0x03) << 0x0A)); // 4G 4B 4M 4E
        	HAL_LCD_Write(&hlcd, 2, char_mask, ((((unsigned long)digit[0x01]) & 0x0C) << 0x12) | ((((unsigned long)digit[0x01]) & 0x03) << 0x0A)); // 4F 4A 4C 4D
        	HAL_LCD_Write(&hlcd, 4, char_mask, ((((unsigned long)digit[0x02]) & 0x0C) << 0x12) | ((((unsigned long)digit[0x02]) & 0x03) << 0x0A)); // 4Q 4K 4Col 4P
        	HAL_LCD_Write(&hlcd, 6, char_mask, ((((unsigned long)digit[0x03]) & 0x0C) << 0x12) | ((((unsigned long)digit[0x03]) & 0x03) << 0x0A)); // 4H 4J 4DP 4N

            break;
         }

        /* Position 5 on LCD (Digit5)*/
        case 5:
        {
        	char_mask = 0xFFF3CFFF;

        	HAL_LCD_Write(&hlcd, 0, char_mask, ((((unsigned long)digit[0x00]) & 0x0C) << 0x10) | ((((unsigned long)digit[0x00]) & 0x03) << 0x0C)); // 5G 5B 5M 5E
        	HAL_LCD_Write(&hlcd, 2, char_mask, ((((unsigned long)digit[0x01]) & 0x0C) << 0x10) | ((((unsigned long)digit[0x01]) & 0x03) << 0x0C)); // 5F 5A 5C 5D
        	HAL_LCD_Write(&hlcd, 4, char_mask, ((((unsigned long)digit[0x02]) & 0x0C) << 0x10) | ((((unsigned long)digit[0x02]) & 0x01) << 0x0C)); // 5Q 5K   5P
        	HAL_LCD_Write(&hlcd, 6, char_mask, ((((unsigned long)digit[0x03]) & 0x0C) << 0x10) | ((((unsigned long)digit[0x03]) & 0x01) << 0x0C)); // 5H 5J   5N

            break;
         }

        /* Position 6 on LCD (Digit6)*/
        case 6:
        {
        	char_mask = 0xFFFC3FFF;

        	HAL_LCD_Write(&hlcd, 0, char_mask, ((((unsigned long)digit[0x00]) & 0x04) << 0x0F) | ((((unsigned long)digit[0x00]) & 0x08) << 0x0D) | ((((unsigned long)digit[0x00]) & 0x03) << 0x0E)) ; // 6B 6G 6M 6E
        	HAL_LCD_Write(&hlcd, 2, char_mask, ((((unsigned long)digit[0x01]) & 0x04) << 0x0F) | ((((unsigned long)digit[0x01]) & 0x08) << 0x0D) | ((((unsigned long)digit[0x01]) & 0x03) << 0x0E)) ; // 6A 6F 6C 6D
        	HAL_LCD_Write(&hlcd, 4, char_mask, ((((unsigned long)digit[0x02]) & 0x04) << 0x0F) | ((((unsigned long)digit[0x02]) & 0x08) << 0x0D) | ((((unsigned long)digit[0x02]) & 0x01) << 0x0E)) ; // 6K 6Q    6P
        	HAL_LCD_Write(&hlcd, 6, char_mask, ((((unsigned long)digit[0x03]) & 0x04) << 0x0F) | ((((unsigned long)digit[0x03]) & 0x08) << 0x0D) | ((((unsigned long)digit[0x03]) & 0x01) << 0x0E)) ; // 6J 6H   6N

            break;
         }

         default:
         {
            break;
         }
    }

    HAL_LCD_UpdateDisplayRequest(&hlcd);
}

void LCD_GLASS_WriteMessage(void)
{
	uint8_t i;
	for(i=0;i<6;i++)
	{
		LCD_GLASS_WriteChar(message[i], 0, i+1);
	}
}

void systickInit (uint16_t frequency)
{
	uint32_t ticks;
	ticks = HAL_RCC_GetSysClockFreq();
	ticks = ticks / frequency;

    SysTick_Config (ticks);
}

/* USER CODE END 4 */

void Error_Handler(void)
{
}

/************************ (C) COPYRIGHT STMicroelectronics *****END OF FILE****/
